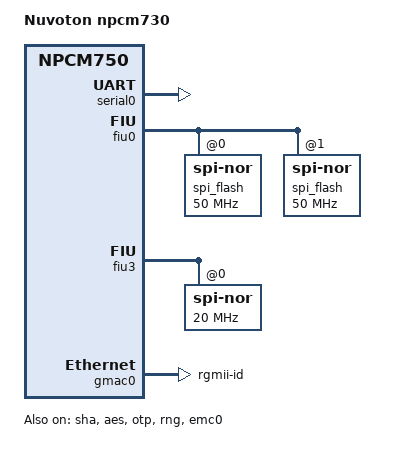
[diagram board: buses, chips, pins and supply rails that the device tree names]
// SPDX-License-Identifier: GPL-2.0
/dts-v1/;

#include <dt-bindings/gpio/gpio.h>
#include "nuvoton-npcm750.dtsi"
/ {
	model = "Nuvoton npcm730";
	compatible = "nuvoton,poleg", "nuvoton,npcm750";

	#address-cells = <1>;
	#size-cells = <1>;

	chosen {
		stdout-path = &serial0;
		tick-timer = &timer0;
	};

	aliases {
		serial0 = &serial0;
		serial1 = &serial1;
		serial2 = &serial2;
		serial3 = &serial3;
		spi0 = &fiu0;
		spi1 = &fiu3;
		gpio0 = &gpio0;
		gpio1 = &gpio1;
		gpio2 = &gpio2;
		gpio3 = &gpio3;
		gpio4 = &gpio4;
		gpio5 = &gpio5;
		gpio6 = &gpio6;
		gpio7 = &gpio7;
		eth0 = &emc0;
		eth1 = &gmac0;
	};

};
&serial0 {
	status = "okay";
	clock-frequency = <24000000>;
};

&sha {
	status = "okay";
};

&aes {
	status = "okay";
};

&otp {
	status = "okay";
};

&rng {
	status = "okay";
};

&fiu0 {
	pinctrl-names = "default";
	pinctrl-0 = <&spi0cs1_pins>;
	status = "okay";
	spi_flash@0 {
		compatible = "jedec,spi-nor";
		reg = <0>;
		spi-max-frequency = <50000000>;
	};
	spi_flash@1 {
		compatible = "jedec,spi-nor";
		reg = <1>;
		spi-max-frequency = <50000000>;
	};
};

&fiu3 {
	pinctrl-0 = <&spi3_pins>;
	status = "okay";
	spi-nor@0 {
		compatible = "jedec,spi-nor";
		reg = <0>;
		spi-max-frequency = <20000000>;
	};
};

&pinctrl {
	status = "okay";
};
&gmac0 {
	phy-mode = "rgmii-id";
	snps,eee-force-disable;
	status = "okay";
};

&emc0 {
	status = "okay";
	pinctrl-names = "default";
	pinctrl-0 = <&r1_pins
			&r1err_pins>;
	fixed-link {
			speed = <100>;
			full-dulpex;
	};
};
